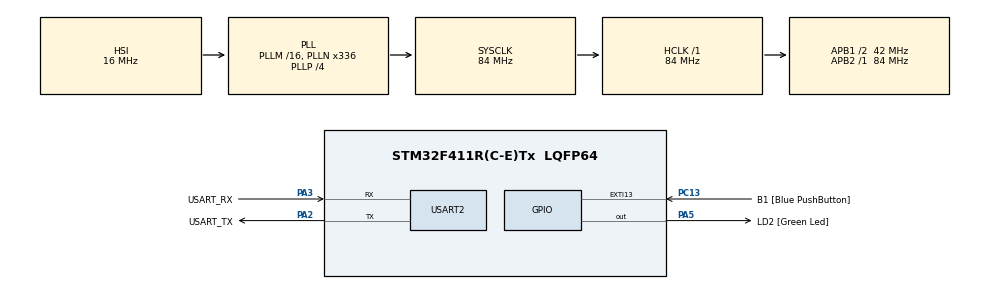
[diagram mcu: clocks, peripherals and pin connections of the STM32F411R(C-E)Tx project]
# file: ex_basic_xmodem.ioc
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Mcu.Family=STM32F4
Mcu.Name=STM32F411R(C-E)Tx
Mcu.Package=LQFP64
NVIC.PriorityGroup=NVIC_PRIORITYGROUP_0
NVIC.TIM2_IRQn=true\:0\:0\:false\:false\:true\:true\:true\:true
NVIC.USART2_IRQn=true\:0\:0\:false\:false\:true\:true\:true\:true
PA13.GPIO_Label=TMS
PA13.Mode=Serial_Wire
PA13.Signal=SYS_JTMS-SWDIO
PA14.GPIO_Label=TCK
PA14.Mode=Serial_Wire
PA14.Signal=SYS_JTCK-SWCLK
PA2.GPIO_Label=USART_TX
PA2.Mode=Asynchronous
PA2.Signal=USART2_TX
PA3.GPIO_Label=USART_RX
PA3.Mode=Asynchronous
PA3.Signal=USART2_RX
PA5.GPIO_Label=LD2 [Green Led]
PA5.Signal=GPIO_Output
PB3.GPIO_Label=SWO
PB3.Signal=SYS_JTDO-SWO
PC13-ANTI_TAMP.GPIO_Label=B1 [Blue PushButton]
PC13-ANTI_TAMP.GPIO_ModeDefaultEXTI=GPIO_MODE_IT_FALLING
PC13-ANTI_TAMP.Signal=GPXTI13
PC14-OSC32_IN.Mode=LSE-External-Oscillator
PC14-OSC32_IN.Signal=RCC_OSC32_IN
PC15-OSC32_OUT.Mode=LSE-External-Oscillator
PC15-OSC32_OUT.Signal=RCC_OSC32_OUT
PH0\ -\ OSC_IN.Mode=HSE-External-Clock-Source
PH0\ -\ OSC_IN.Signal=RCC_OSC_IN
PH1\ -\ OSC_OUT.Mode=HSE-External-Clock-Source
PH1\ -\ OSC_OUT.Signal=RCC_OSC_OUT
ProjectManager.HeapSize=0x200
ProjectManager.StackSize=0x400
ProjectManager.TargetToolchain=STM32CubeIDE
RCC.48MHZClocksFreq_Value=84000000
RCC.AHBFreq_Value=84000000
RCC.APB1CLKDivider=RCC_HCLK_DIV2
RCC.APB1Freq_Value=42000000
RCC.APB1TimFreq_Value=84000000
RCC.APB2Freq_Value=84000000
RCC.APB2TimFreq_Value=84000000
RCC.CortexFreq_Value=84000000
RCC.FLatency-AdvancedSettings=FLASH_LATENCY_2
RCC.HCLKFreq_Value=84000000
RCC.HSE_VALUE=8000000
RCC.HSI_VALUE=16000000
RCC.PLLN=336
RCC.PLLP=RCC_PLLP_DIV4
RCC.SYSCLKFreq_VALUE=84000000
RCC.SYSCLKSource=RCC_SYSCLKSOURCE_PLLCLK
RCC.VCOOutputFreq_Value=336000000
TIM2.Prescaler=84-1
USART2.VirtualMode=VM_ASYNC
VP_TIM2_VS_ClockSourceINT.Mode=Internal
board=NUCLEO-F411RE

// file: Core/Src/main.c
/* USER CODE BEGIN Header */
/**
  ******************************************************************************
  * @file           : main.c
  * @brief          : Main program body
  ******************************************************************************
  * @attention
  *
  * Copyright (c) 2023 STMicroelectronics.
  * All rights reserved.
  *
  * This software is licensed under terms that can be found in the LICENSE file
  * in the root directory of this software component.
  * If no LICENSE file comes with this software, it is provided AS-IS.
  *
  ******************************************************************************
  */
/* USER CODE END Header */
#include "main.h"

/* USER CODE BEGIN Includes */
#include "linker.h"

/* USER CODE END Includes */

/* USER CODE BEGIN PD */
#define TASK_SIZE		11
#define TIMER_1MS_SIZE	4

/* USER CODE END PD */

TIM_HandleTypeDef htim2;

UART_HandleTypeDef huart2;

/* USER CODE BEGIN PV */
static uint16_t s_log_tx;
static uint8_t s_log_rx;

/* USER CODE END PV */

void SystemClock_Config(void);
static void MX_GPIO_Init(void);
static void MX_USART2_UART_Init(void);
static void MX_TIM2_Init(void);

/* USER CODE BEGIN 0 */
static uint32_t micros()
{
    return htim2.Instance->CNT;
}

static void actLedLState(PifId pif_id, uint32_t state)
{
	(void)pif_id;

	HAL_GPIO_WritePin(LD2_GPIO_Port, LD2_Pin, state & 1);
}

static BOOL actLogStartTransfer(PifUart* p_uart)
{
	uint8_t *p_data, state;

	s_log_tx = 0;
	state = pifUart_StartGetTxData(p_uart, &p_data, &s_log_tx);
	if (state & PIF_UART_SEND_DATA_STATE_DATA) {
		HAL_UART_Transmit_IT(&huart2, p_data, s_log_tx);
		return TRUE;
	}
	return FALSE;
}

void HAL_UART_TxCpltCallback(UART_HandleTypeDef *huart)
{
	uint8_t *p_data, state;

	if (huart->Instance == USART2) {
		state = pifUart_EndGetTxData(&g_uart, s_log_tx);
		if (!(state & PIF_UART_SEND_DATA_STATE_EMPTY)) {
			s_log_tx = 0;
			state = pifUart_StartGetTxData(&g_uart, &p_data, &s_log_tx);
			if (state & PIF_UART_SEND_DATA_STATE_DATA) {
				HAL_UART_Transmit_IT(huart, p_data, s_log_tx);
			}
		}
	}
}

void HAL_UART_RxCpltCallback(UART_HandleTypeDef *huart)
{
	if (huart->Instance == USART2) {
		pifUart_PutRxByte(&g_uart, s_log_rx);
		HAL_UART_Receive_IT(huart, &s_log_rx, 1);
	}
}

/* USER CODE END 0 */

int main(void)
{

  /* MCU Configuration--------------------------------------------------------*/

  /* Reset of all peripherals, Initializes the Flash interface and the Systick. */
  HAL_Init();

  /* Configure the system clock */
  SystemClock_Config();

  /* Initialize all configured peripherals */
  MX_GPIO_Init();
  MX_USART2_UART_Init();
  MX_TIM2_Init();
  /* USER CODE BEGIN 2 */
  HAL_TIM_IC_Start_IT(&htim2, TIM_CHANNEL_1);

  pif_Init(micros);

  if (!pifTaskManager_Init(TASK_SIZE, 1)) return -1;

  if (!pifTimerManager_Init(&g_timer_1ms, PIF_ID_AUTO, 1000, TIMER_1MS_SIZE)) return -1;		// 1000us

  if (!pifUart_Init(&g_uart, PIF_ID_AUTO, huart2.Init.BaudRate)) return -1;
  if (!pifUart_AttachTxTask(&g_uart, PIF_ID_AUTO, TM_EXTERNAL, 0, "UartTxLog")) return -1;
  if (!pifUart_AttachRxTask(&g_uart, PIF_ID_AUTO, TM_PERIOD, 200000, "UartRxLog")) return -1;	// 200ms
  if (!pifUart_AllocRxBuffer(&g_uart, 64)) return -1;											// 64bytes
  if (!pifUart_AllocTxBuffer(&g_uart, 128)) return -1;											// 128bytes
  g_uart.act_start_transfer = actLogStartTransfer;

  HAL_UART_Receive_IT(&huart2, &s_log_rx, 1);

  pifLog_Init();
  if (!pifLog_AttachUart(&g_uart, 256)) return -1;												// 256bytes

  if (!pifLed_Init(&g_led_l, PIF_ID_AUTO, 2, actLedLState)) return -1;

  if (!appSetup()) return -1;

	pifLog_Print(LT_NONE, "\n\n****************************************\n");
	pifLog_Print(LT_NONE, "***          ex_basic_xmodem         ***\n");
	pifLog_Printf(LT_NONE, "***       %s %s       ***\n", __DATE__, __TIME__);
	pifLog_Print(LT_NONE, "****************************************\n");
  pifLog_Printf(LT_INFO, "Task=%d/%d Timer=%d/%d\n", pifTaskManager_Count(), TASK_SIZE, pifTimerManager_Count(&g_timer_1ms), TIMER_1MS_SIZE);

  /* USER CODE END 2 */

  /* Infinite loop */
  /* USER CODE BEGIN WHILE */
  while (1)
  {
	pifTaskManager_Loop();
    /* USER CODE END WHILE */

  }
}

void SystemClock_Config(void)
{
  RCC_OscInitTypeDef RCC_OscInitStruct = {0};
  RCC_ClkInitTypeDef RCC_ClkInitStruct = {0};

  /** Configure the main internal regulator output voltage
  */
  __HAL_RCC_PWR_CLK_ENABLE();
  __HAL_PWR_VOLTAGESCALING_CONFIG(PWR_REGULATOR_VOLTAGE_SCALE1);

  /** Initializes the RCC Oscillators according to the specified parameters
  * in the RCC_OscInitTypeDef structure.
  */
  RCC_OscInitStruct.OscillatorType = RCC_OSCILLATORTYPE_HSI;
  RCC_OscInitStruct.HSIState = RCC_HSI_ON;
  RCC_OscInitStruct.HSICalibrationValue = RCC_HSICALIBRATION_DEFAULT;
  RCC_OscInitStruct.PLL.PLLState = RCC_PLL_ON;
  RCC_OscInitStruct.PLL.PLLSource = RCC_PLLSOURCE_HSI;
  RCC_OscInitStruct.PLL.PLLM = 16;
  RCC_OscInitStruct.PLL.PLLN = 336;
  RCC_OscInitStruct.PLL.PLLP = RCC_PLLP_DIV4;
  RCC_OscInitStruct.PLL.PLLQ = 4;
  if (HAL_RCC_OscConfig(&RCC_OscInitStruct) != HAL_OK)
  {
    Error_Handler();
  }

  /** Initializes the CPU, AHB and APB buses clocks
  */
  RCC_ClkInitStruct.ClockType = RCC_CLOCKTYPE_HCLK|RCC_CLOCKTYPE_SYSCLK
                              |RCC_CLOCKTYPE_PCLK1|RCC_CLOCKTYPE_PCLK2;
  RCC_ClkInitStruct.SYSCLKSource = RCC_SYSCLKSOURCE_PLLCLK;
  RCC_ClkInitStruct.AHBCLKDivider = RCC_SYSCLK_DIV1;
  RCC_ClkInitStruct.APB1CLKDivider = RCC_HCLK_DIV2;
  RCC_ClkInitStruct.APB2CLKDivider = RCC_HCLK_DIV1;

  if (HAL_RCC_ClockConfig(&RCC_ClkInitStruct, FLASH_LATENCY_2) != HAL_OK)
  {
    Error_Handler();
  }
}

static void MX_TIM2_Init(void)
{

  TIM_ClockConfigTypeDef sClockSourceConfig = {0};
  TIM_MasterConfigTypeDef sMasterConfig = {0};

  htim2.Instance = TIM2;
  htim2.Init.Prescaler = 84-1;
  htim2.Init.CounterMode = TIM_COUNTERMODE_UP;
  htim2.Init.Period = 4294967295;
  htim2.Init.ClockDivision = TIM_CLOCKDIVISION_DIV1;
  htim2.Init.AutoReloadPreload = TIM_AUTORELOAD_PRELOAD_DISABLE;
  if (HAL_TIM_Base_Init(&htim2) != HAL_OK)
  {
    Error_Handler();
  }
  sClockSourceConfig.ClockSource = TIM_CLOCKSOURCE_INTERNAL;
  if (HAL_TIM_ConfigClockSource(&htim2, &sClockSourceConfig) != HAL_OK)
  {
    Error_Handler();
  }
  sMasterConfig.MasterOutputTrigger = TIM_TRGO_RESET;
  sMasterConfig.MasterSlaveMode = TIM_MASTERSLAVEMODE_DISABLE;
  if (HAL_TIMEx_MasterConfigSynchronization(&htim2, &sMasterConfig) != HAL_OK)
  {
    Error_Handler();
  }

}

static void MX_USART2_UART_Init(void)
{

  huart2.Instance = USART2;
  huart2.Init.BaudRate = 115200;
  huart2.Init.WordLength = UART_WORDLENGTH_8B;
  huart2.Init.StopBits = UART_STOPBITS_1;
  huart2.Init.Parity = UART_PARITY_NONE;
  huart2.Init.Mode = UART_MODE_TX_RX;
  huart2.Init.HwFlowCtl = UART_HWCONTROL_NONE;
  huart2.Init.OverSampling = UART_OVERSAMPLING_16;
  if (HAL_UART_Init(&huart2) != HAL_OK)
  {
    Error_Handler();
  }

}

static void MX_GPIO_Init(void)
{
  GPIO_InitTypeDef GPIO_InitStruct = {0};

  /* GPIO Ports Clock Enable */
  __HAL_RCC_GPIOC_CLK_ENABLE();
  __HAL_RCC_GPIOH_CLK_ENABLE();
  __HAL_RCC_GPIOA_CLK_ENABLE();
  __HAL_RCC_GPIOB_CLK_ENABLE();

  /*Configure GPIO pin Output Level */
  HAL_GPIO_WritePin(LD2_GPIO_Port, LD2_Pin, GPIO_PIN_RESET);

  /*Configure GPIO pin : B1_Pin */
  GPIO_InitStruct.Pin = B1_Pin;
  GPIO_InitStruct.Mode = GPIO_MODE_IT_FALLING;
  GPIO_InitStruct.Pull = GPIO_NOPULL;
  HAL_GPIO_Init(B1_GPIO_Port, &GPIO_InitStruct);

  /*Configure GPIO pin : LD2_Pin */
  GPIO_InitStruct.Pin = LD2_Pin;
  GPIO_InitStruct.Mode = GPIO_MODE_OUTPUT_PP;
  GPIO_InitStruct.Pull = GPIO_NOPULL;
  GPIO_InitStruct.Speed = GPIO_SPEED_FREQ_LOW;
  HAL_GPIO_Init(LD2_GPIO_Port, &GPIO_InitStruct);

}

void Error_Handler(void)
{
  __disable_irq();
  while (1)
  {
  }
}
